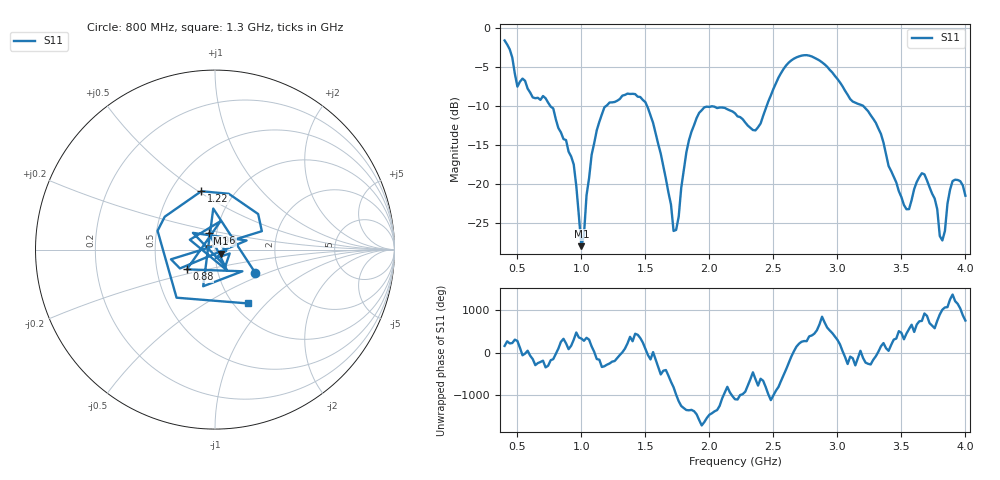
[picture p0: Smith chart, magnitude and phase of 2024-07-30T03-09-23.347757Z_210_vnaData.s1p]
!Created with skrf (http://scikit-rf.org).
# Hz S RI R 50.0
!freq ReS11 ImS11
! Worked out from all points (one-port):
!   181 points, 400 MHz to 4 GHz, reference 50 ohm
!   lowest |S11| = -28.0 dB at 1 GHz (marker M1), VSWR 1.08, Z = 53.4 - j2.33 ohm
!   |S11| at or under -10 dB: 758.1 MHz to 1.191 GHz (432.4 MHz wide, 44.4 % of centre); 1.514 GHz to 2.447 GHz (933.1 MHz wide, 47.1 % of centre); 3.204 GHz to end of sweep
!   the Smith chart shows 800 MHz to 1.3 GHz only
!   S11 on the Smith chart (normalised r, x): 800 MHz: 1.51, -0.43; 880 MHz: 0.71, -0.16; 960 MHz: 0.92, +0.17; 1.22 GHz: 0.70, +0.51; 1.3 GHz: 1.16, -0.79
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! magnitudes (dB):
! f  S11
! 400 MHz  -1.6
! 500 MHz  -7.5
! 800 MHz  -11.7
! 860 MHz  -14.2
! 880 MHz  -14.4
! 960 MHz  -20.2
! 1 GHz  -28.0
! 1.08 GHz  -16.2
! 1.22 GHz  -9.5
! 1.3 GHz  -9.1
! 1.5 GHz  -9.5
! 1.62 GHz  -16.1
! 1.72 GHz  -26.0
! 1.76 GHz  -24.2
! 1.82 GHz  -15.9
! 1.92 GHz  -10.9
! 2.2 GHz  -10.9
! 2.36 GHz  -13.1
! 2.66 GHz  -3.9
! 2.88 GHz  -4.4
! 3.1 GHz  -9.1
! 3.3 GHz  -12.1
! 3.56 GHz  -23.2
! 3.68 GHz  -18.7
! 3.76 GHz  -21.9
! 3.82 GHz  -27.2
! 3.9 GHz  -19.6
! 4 GHz  -21.5
